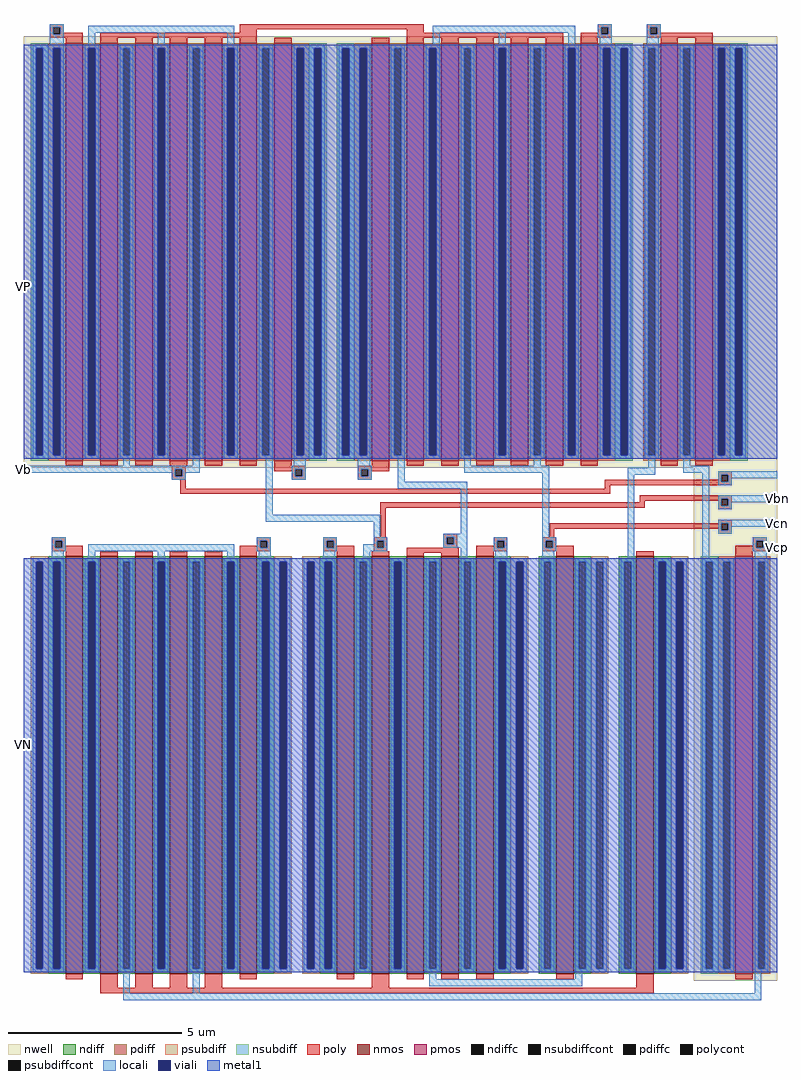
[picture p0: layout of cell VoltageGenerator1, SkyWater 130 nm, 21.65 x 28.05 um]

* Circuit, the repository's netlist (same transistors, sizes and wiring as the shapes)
* SPICE3 file created from /home/madvlsi/Desktop/MAD_VLSI/MiniProject3-Cascode/Magic/VoltageGenerator1.ext - technology: sky130A


* Top level circuit /home/madvlsi/Desktop/MAD_VLSI/MiniProject3-Cascode/Magic/VoltageGenerator1

X0 VP Vb Vb VP sky130_fd_pr__pfet_01v8 ad=7.8e+13p pd=3.25e+08u as=1.2e+13p ps=5e+07u w=1.2e+07u l=500000u
X1 Vcn Vb VP VP sky130_fd_pr__pfet_01v8 ad=1.2e+13p pd=5e+07u as=0p ps=0u w=1.2e+07u l=500000u
X2 VN Vbn a_5840_n3210# VN sky130_fd_pr__nfet_01v8 ad=6.6e+13p pd=2.75e+08u as=6e+12p ps=2.5e+07u w=1.2e+07u l=500000u
X3 VN VN VN VN sky130_fd_pr__nfet_01v8 ad=0p pd=0u as=0p ps=0u w=1.2e+07u l=500000u
X4 VP VP VP VP sky130_fd_pr__pfet_01v8 ad=0p pd=0u as=0p ps=0u w=1.2e+07u l=500000u
X5 Vcn Vb VP VP sky130_fd_pr__pfet_01v8 ad=0p pd=0u as=0p ps=0u w=1.2e+07u l=500000u
X6 Vbn VN VN VN sky130_fd_pr__nfet_01v8 ad=6e+12p pd=2.5e+07u as=0p ps=0u w=1.2e+07u l=500000u
X7 Vbn Vb VP VP sky130_fd_pr__pfet_01v8 ad=6e+12p pd=2.5e+07u as=0p ps=0u w=1.2e+07u l=500000u
X8 VP Vb Vcn VP sky130_fd_pr__pfet_01v8 ad=0p pd=0u as=0p ps=0u w=1.2e+07u l=500000u
X9 VN Vbn Vbn VN sky130_fd_pr__nfet_01v8 ad=0p pd=0u as=0p ps=0u w=1.2e+07u l=500000u
X10 VN Vcn Vcn VN sky130_fd_pr__nfet_01v8 ad=0p pd=0u as=6e+12p ps=2.5e+07u w=1.2e+07u l=500000u
X11 VN VN VN VN sky130_fd_pr__nfet_01v8 ad=0p pd=0u as=0p ps=0u w=1.2e+07u l=500000u
X12 VP a_5840_n3210# VP VP sky130_fd_pr__pfet_01v8 ad=0p pd=0u as=0p ps=0u w=1.2e+07u l=500000u
X13 VN a_4520_n260# VN VN sky130_fd_pr__nfet_01v8 ad=0p pd=0u as=0p ps=0u w=1.2e+07u l=500000u
X14 Vcp Vbn VN VN sky130_fd_pr__nfet_01v8 ad=1.2e+13p pd=5e+07u as=0p ps=0u w=1.2e+07u l=500000u
X15 VP Vb a_4520_n260# VP sky130_fd_pr__pfet_01v8 ad=0p pd=0u as=6e+12p ps=2.5e+07u w=1.2e+07u l=500000u
X16 a_4520_n260# a_4520_n260# VN VN sky130_fd_pr__nfet_01v8 ad=6e+12p pd=2.5e+07u as=0p ps=0u w=1.2e+07u l=500000u
X17 VP Vb Vb VP sky130_fd_pr__pfet_01v8 ad=0p pd=0u as=0p ps=0u w=1.2e+07u l=500000u
X18 VP VP VP VP sky130_fd_pr__pfet_01v8 ad=0p pd=0u as=0p ps=0u w=1.2e+07u l=500000u
X19 Vcp Vcp VP VP sky130_fd_pr__pfet_01v8 ad=6e+12p pd=2.5e+07u as=0p ps=0u w=1.2e+07u l=500000u
X20 VP a_5840_n3210# a_5840_n3210# VP sky130_fd_pr__pfet_01v8 ad=0p pd=0u as=6e+12p ps=2.5e+07u w=1.2e+07u l=500000u
X21 a_4520_n260# VP VP VP sky130_fd_pr__pfet_01v8 ad=0p pd=0u as=0p ps=0u w=1.2e+07u l=500000u
X22 Vb Vb VP VP sky130_fd_pr__pfet_01v8 ad=0p pd=0u as=0p ps=0u w=1.2e+07u l=500000u
X23 VP Vb Vcn VP sky130_fd_pr__pfet_01v8 ad=0p pd=0u as=0p ps=0u w=1.2e+07u l=500000u
X24 VN Vbn Vcp VN sky130_fd_pr__nfet_01v8 ad=0p pd=0u as=0p ps=0u w=1.2e+07u l=500000u
X25 VN VN a_4520_n260# VN sky130_fd_pr__nfet_01v8 ad=0p pd=0u as=0p ps=0u w=1.2e+07u l=500000u
X26 Vcp Vbn VN VN sky130_fd_pr__nfet_01v8 ad=0p pd=0u as=0p ps=0u w=1.2e+07u l=500000u
X27 Vb Vb VP VP sky130_fd_pr__pfet_01v8 ad=0p pd=0u as=0p ps=0u w=1.2e+07u l=500000u
X28 VP VP Vbn VP sky130_fd_pr__pfet_01v8 ad=0p pd=0u as=0p ps=0u w=1.2e+07u l=500000u
X29 VN Vbn Vcp VN sky130_fd_pr__nfet_01v8 ad=0p pd=0u as=0p ps=0u w=1.2e+07u l=500000u
.end

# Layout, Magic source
magic
tech sky130A
<< nwell >>
rect 1210 -150 3375 1090
rect 3135 -1625 3375 -150
<< nmos >>
rect 1330 -1605 1380 -405
rect 1430 -1605 1480 -405
rect 1530 -1605 1580 -405
rect 1630 -1605 1680 -405
rect 1730 -1605 1780 -405
rect 1830 -1605 1880 -405
rect 2110 -1605 2160 -405
rect 2210 -1605 2260 -405
rect 2310 -1605 2360 -405
rect 2410 -1605 2460 -405
rect 2510 -1605 2560 -405
rect 2740 -1605 2790 -405
rect 2970 -1605 3020 -405
<< pmos >>
rect 1330 -130 1380 1070
rect 1430 -130 1480 1070
rect 1530 -130 1580 1070
rect 1630 -130 1680 1070
rect 1730 -130 1780 1070
rect 1830 -130 1880 1070
rect 1930 -130 1980 1070
rect 2210 -130 2260 1070
rect 2310 -130 2360 1070
rect 2410 -130 2460 1070
rect 2510 -130 2560 1070
rect 2610 -130 2660 1070
rect 2710 -130 2760 1070
rect 2810 -130 2860 1070
rect 3040 -130 3090 1070
rect 3140 -130 3190 1070
rect 3255 -1605 3305 -405
<< ndiff >>
rect 1280 -420 1330 -405
rect 1280 -1590 1295 -420
rect 1315 -1590 1330 -420
rect 1280 -1605 1330 -1590
rect 1380 -420 1430 -405
rect 1380 -1590 1395 -420
rect 1415 -1590 1430 -420
rect 1380 -1605 1430 -1590
rect 1480 -420 1530 -405
rect 1480 -1590 1495 -420
rect 1515 -1590 1530 -420
rect 1480 -1605 1530 -1590
rect 1580 -420 1630 -405
rect 1580 -1590 1595 -420
rect 1615 -1590 1630 -420
rect 1580 -1605 1630 -1590
rect 1680 -420 1730 -405
rect 1680 -1590 1695 -420
rect 1715 -1590 1730 -420
rect 1680 -1605 1730 -1590
rect 1780 -420 1830 -405
rect 1780 -1590 1795 -420
rect 1815 -1590 1830 -420
rect 1780 -1605 1830 -1590
rect 1880 -420 1930 -405
rect 1880 -1590 1895 -420
rect 1915 -1590 1930 -420
rect 1880 -1605 1930 -1590
rect 2060 -420 2110 -405
rect 2060 -1590 2075 -420
rect 2095 -1590 2110 -420
rect 2060 -1605 2110 -1590
rect 2160 -420 2210 -405
rect 2160 -1590 2175 -420
rect 2195 -1590 2210 -420
rect 2160 -1605 2210 -1590
rect 2260 -420 2310 -405
rect 2260 -1590 2275 -420
rect 2295 -1590 2310 -420
rect 2260 -1605 2310 -1590
rect 2360 -420 2410 -405
rect 2360 -1590 2375 -420
rect 2395 -1590 2410 -420
rect 2360 -1605 2410 -1590
rect 2460 -420 2510 -405
rect 2460 -1590 2475 -420
rect 2495 -1590 2510 -420
rect 2460 -1605 2510 -1590
rect 2560 -420 2610 -405
rect 2560 -1590 2575 -420
rect 2595 -1590 2610 -420
rect 2560 -1605 2610 -1590
rect 2690 -420 2740 -405
rect 2690 -1590 2705 -420
rect 2725 -1590 2740 -420
rect 2690 -1605 2740 -1590
rect 2790 -420 2840 -405
rect 2790 -1590 2805 -420
rect 2825 -1590 2840 -420
rect 2790 -1605 2840 -1590
rect 2920 -420 2970 -405
rect 2920 -1590 2935 -420
rect 2955 -1590 2970 -420
rect 2920 -1605 2970 -1590
rect 3020 -420 3070 -405
rect 3020 -1590 3035 -420
rect 3055 -1590 3070 -420
rect 3020 -1605 3070 -1590
<< pdiff >>
rect 1280 1055 1330 1070
rect 1280 -115 1295 1055
rect 1315 -115 1330 1055
rect 1280 -130 1330 -115
rect 1380 1055 1430 1070
rect 1380 -115 1395 1055
rect 1415 -115 1430 1055
rect 1380 -130 1430 -115
rect 1480 1055 1530 1070
rect 1480 -115 1495 1055
rect 1515 -115 1530 1055
rect 1480 -130 1530 -115
rect 1580 1055 1630 1070
rect 1580 -115 1595 1055
rect 1615 -115 1630 1055
rect 1580 -130 1630 -115
rect 1680 1055 1730 1070
rect 1680 -115 1695 1055
rect 1715 -115 1730 1055
rect 1680 -130 1730 -115
rect 1780 1055 1830 1070
rect 1780 -115 1795 1055
rect 1815 -115 1830 1055
rect 1780 -130 1830 -115
rect 1880 1055 1930 1070
rect 1880 -115 1895 1055
rect 1915 -115 1930 1055
rect 1880 -130 1930 -115
rect 1980 1055 2030 1070
rect 1980 -115 1995 1055
rect 2015 -115 2030 1055
rect 1980 -130 2030 -115
rect 2160 1055 2210 1070
rect 2160 -115 2175 1055
rect 2195 -115 2210 1055
rect 2160 -130 2210 -115
rect 2260 1055 2310 1070
rect 2260 -115 2275 1055
rect 2295 -115 2310 1055
rect 2260 -130 2310 -115
rect 2360 1055 2410 1070
rect 2360 -115 2375 1055
rect 2395 -115 2410 1055
rect 2360 -130 2410 -115
rect 2460 1055 2510 1070
rect 2460 -115 2475 1055
rect 2495 -115 2510 1055
rect 2460 -130 2510 -115
rect 2560 1055 2610 1070
rect 2560 -115 2575 1055
rect 2595 -115 2610 1055
rect 2560 -130 2610 -115
rect 2660 1055 2710 1070
rect 2660 -115 2675 1055
rect 2695 -115 2710 1055
rect 2660 -130 2710 -115
rect 2760 1055 2810 1070
rect 2760 -115 2775 1055
rect 2795 -115 2810 1055
rect 2760 -130 2810 -115
rect 2860 1055 2910 1070
rect 2860 -115 2875 1055
rect 2895 -115 2910 1055
rect 2860 -130 2910 -115
rect 2990 1055 3040 1070
rect 2990 -115 3005 1055
rect 3025 -115 3040 1055
rect 2990 -130 3040 -115
rect 3090 1055 3140 1070
rect 3090 -115 3105 1055
rect 3125 -115 3140 1055
rect 3090 -130 3140 -115
rect 3190 1055 3240 1070
rect 3190 -115 3205 1055
rect 3225 -115 3240 1055
rect 3190 -130 3240 -115
rect 3205 -420 3255 -405
rect 3205 -1590 3220 -420
rect 3240 -1590 3255 -420
rect 3205 -1605 3255 -1590
rect 3305 -420 3355 -405
rect 3305 -1590 3320 -420
rect 3340 -1590 3355 -420
rect 3305 -1605 3355 -1590
<< ndiffc >>
rect 1295 -1590 1315 -420
rect 1395 -1590 1415 -420
rect 1495 -1590 1515 -420
rect 1595 -1590 1615 -420
rect 1695 -1590 1715 -420
rect 1795 -1590 1815 -420
rect 1895 -1590 1915 -420
rect 2075 -1590 2095 -420
rect 2175 -1590 2195 -420
rect 2275 -1590 2295 -420
rect 2375 -1590 2395 -420
rect 2475 -1590 2495 -420
rect 2575 -1590 2595 -420
rect 2705 -1590 2725 -420
rect 2805 -1590 2825 -420
rect 2935 -1590 2955 -420
rect 3035 -1590 3055 -420
<< pdiffc >>
rect 1295 -115 1315 1055
rect 1395 -115 1415 1055
rect 1495 -115 1515 1055
rect 1595 -115 1615 1055
rect 1695 -115 1715 1055
rect 1795 -115 1815 1055
rect 1895 -115 1915 1055
rect 1995 -115 2015 1055
rect 2175 -115 2195 1055
rect 2275 -115 2295 1055
rect 2375 -115 2395 1055
rect 2475 -115 2495 1055
rect 2575 -115 2595 1055
rect 2675 -115 2695 1055
rect 2775 -115 2795 1055
rect 2875 -115 2895 1055
rect 3005 -115 3025 1055
rect 3105 -115 3125 1055
rect 3205 -115 3225 1055
rect 3220 -1590 3240 -420
rect 3320 -1590 3340 -420
<< psubdiff >>
rect 1230 -420 1280 -405
rect 1230 -1590 1245 -420
rect 1265 -1590 1280 -420
rect 1230 -1605 1280 -1590
rect 1930 -420 1980 -405
rect 1930 -1590 1945 -420
rect 1965 -1590 1980 -420
rect 1930 -1605 1980 -1590
rect 2010 -420 2060 -405
rect 2010 -1590 2025 -420
rect 2045 -1590 2060 -420
rect 2010 -1605 2060 -1590
rect 2610 -420 2660 -405
rect 2610 -1590 2625 -420
rect 2645 -1590 2660 -420
rect 2610 -1605 2660 -1590
rect 2840 -420 2890 -405
rect 2840 -1590 2855 -420
rect 2875 -1590 2890 -420
rect 2840 -1605 2890 -1590
rect 3070 -420 3120 -405
rect 3070 -1590 3085 -420
rect 3105 -1590 3120 -420
rect 3070 -1605 3120 -1590
<< nsubdiff >>
rect 1230 1055 1280 1070
rect 1230 -115 1245 1055
rect 1265 -115 1280 1055
rect 1230 -130 1280 -115
rect 2030 1055 2080 1070
rect 2030 -115 2045 1055
rect 2065 -115 2080 1055
rect 2030 -130 2080 -115
rect 2110 1055 2160 1070
rect 2110 -115 2125 1055
rect 2145 -115 2160 1055
rect 2110 -130 2160 -115
rect 2910 1055 2960 1070
rect 2910 -115 2925 1055
rect 2945 -115 2960 1055
rect 2910 -130 2960 -115
rect 3240 1055 3290 1070
rect 3240 -115 3255 1055
rect 3275 -115 3290 1055
rect 3240 -130 3290 -115
rect 3155 -420 3205 -405
rect 3155 -1590 3170 -420
rect 3190 -1590 3205 -420
rect 3155 -1605 3205 -1590
<< psubdiffcont >>
rect 1245 -1590 1265 -420
rect 1945 -1590 1965 -420
rect 2025 -1590 2045 -420
rect 2625 -1590 2645 -420
rect 2855 -1590 2875 -420
rect 3085 -1590 3105 -420
<< nsubdiffcont >>
rect 1245 -115 1265 1055
rect 2045 -115 2065 1055
rect 2125 -115 2145 1055
rect 2925 -115 2945 1055
rect 3255 -115 3275 1055
rect 3170 -1590 3190 -420
<< poly >>
rect 1285 1115 1325 1125
rect 1285 1095 1295 1115
rect 1315 1100 1325 1115
rect 1830 1110 2360 1125
rect 1830 1100 1880 1110
rect 1315 1095 1380 1100
rect 1285 1085 1380 1095
rect 1330 1070 1380 1085
rect 1430 1085 1880 1100
rect 2310 1100 2360 1110
rect 2860 1115 2900 1125
rect 2860 1100 2870 1115
rect 2310 1085 2760 1100
rect 1430 1070 1480 1085
rect 1530 1070 1580 1085
rect 1630 1070 1680 1085
rect 1730 1070 1780 1085
rect 1830 1070 1880 1085
rect 1930 1070 1980 1085
rect 2210 1070 2260 1085
rect 2310 1070 2360 1085
rect 2410 1070 2460 1085
rect 2510 1070 2560 1085
rect 2610 1070 2660 1085
rect 2710 1070 2760 1085
rect 2810 1095 2870 1100
rect 2890 1095 2900 1115
rect 2810 1085 2900 1095
rect 3000 1115 3040 1125
rect 3000 1095 3010 1115
rect 3030 1100 3040 1115
rect 3030 1095 3190 1100
rect 3000 1085 3190 1095
rect 2810 1070 2860 1085
rect 3040 1070 3090 1085
rect 3140 1070 3190 1085
rect 1330 -145 1380 -130
rect 1430 -145 1480 -130
rect 1530 -145 1580 -130
rect 1630 -145 1680 -130
rect 1730 -145 1780 -130
rect 1830 -145 1880 -130
rect 1930 -145 1980 -130
rect 2210 -145 2260 -130
rect 2310 -145 2360 -130
rect 2410 -145 2460 -130
rect 2510 -145 2560 -130
rect 2610 -145 2660 -130
rect 2710 -145 2760 -130
rect 2810 -145 2860 -130
rect 3040 -145 3090 -130
rect 3140 -145 3190 -130
rect 1635 -155 1675 -145
rect 1635 -175 1645 -155
rect 1665 -175 1675 -155
rect 1930 -155 2020 -145
rect 1930 -160 1990 -155
rect 1635 -185 1675 -175
rect 1980 -175 1990 -160
rect 2010 -175 2020 -155
rect 1980 -185 2020 -175
rect 2170 -155 2260 -145
rect 2170 -175 2180 -155
rect 2200 -160 2260 -155
rect 2200 -175 2210 -160
rect 2170 -185 2210 -175
rect 3205 -170 3245 -160
rect 3205 -185 3215 -170
rect 1660 -210 1675 -185
rect 2880 -190 3215 -185
rect 3235 -190 3245 -170
rect 2880 -200 3245 -190
rect 2880 -210 2895 -200
rect 1660 -225 2895 -210
rect 2980 -240 3245 -230
rect 2980 -245 3215 -240
rect 2980 -250 2995 -245
rect 2235 -265 2995 -250
rect 3205 -260 3215 -245
rect 3235 -260 3245 -240
rect 2235 -350 2250 -265
rect 3205 -270 3245 -260
rect 3205 -310 3245 -300
rect 2720 -325 3215 -310
rect 2415 -350 2455 -340
rect 2720 -350 2735 -325
rect 3205 -330 3215 -325
rect 3235 -330 3245 -310
rect 3205 -340 3245 -330
rect 1290 -360 1330 -350
rect 1290 -380 1300 -360
rect 1320 -375 1330 -360
rect 1880 -360 1920 -350
rect 1880 -375 1890 -360
rect 1320 -380 1380 -375
rect 1290 -390 1380 -380
rect 1830 -380 1890 -375
rect 1910 -380 1920 -360
rect 1830 -390 1920 -380
rect 2070 -360 2110 -350
rect 2070 -380 2080 -360
rect 2100 -375 2110 -360
rect 2215 -360 2255 -350
rect 2100 -380 2160 -375
rect 2070 -390 2160 -380
rect 2215 -380 2225 -360
rect 2245 -380 2255 -360
rect 2415 -370 2425 -350
rect 2445 -370 2455 -350
rect 2415 -380 2455 -370
rect 2560 -360 2600 -350
rect 2560 -375 2570 -360
rect 2510 -380 2570 -375
rect 2590 -380 2600 -360
rect 2215 -390 2255 -380
rect 1330 -405 1380 -390
rect 1430 -405 1480 -390
rect 1530 -405 1580 -390
rect 1630 -405 1680 -390
rect 1730 -405 1780 -390
rect 1830 -405 1880 -390
rect 2110 -405 2160 -390
rect 2210 -405 2260 -390
rect 2310 -395 2460 -380
rect 2310 -405 2360 -395
rect 2410 -405 2460 -395
rect 2510 -390 2600 -380
rect 2700 -360 2740 -350
rect 2700 -380 2710 -360
rect 2730 -375 2740 -360
rect 3305 -360 3345 -350
rect 3305 -375 3315 -360
rect 2730 -380 2790 -375
rect 2700 -390 2790 -380
rect 3255 -380 3315 -375
rect 3335 -380 3345 -360
rect 3255 -390 3345 -380
rect 2510 -405 2560 -390
rect 2740 -405 2790 -390
rect 2970 -405 3020 -390
rect 3255 -405 3305 -390
rect 1330 -1620 1380 -1605
rect 1430 -1645 1480 -1605
rect 1530 -1645 1580 -1605
rect 1630 -1645 1680 -1605
rect 1730 -1645 1780 -1605
rect 1830 -1620 1880 -1605
rect 2110 -1620 2160 -1605
rect 2210 -1645 2260 -1605
rect 2310 -1620 2360 -1605
rect 2410 -1620 2460 -1605
rect 2510 -1620 2560 -1605
rect 2740 -1620 2790 -1605
rect 2970 -1645 3020 -1605
rect 3255 -1620 3305 -1605
rect 1430 -1660 3020 -1645
<< polycont >>
rect 1295 1095 1315 1115
rect 2870 1095 2890 1115
rect 3010 1095 3030 1115
rect 1645 -175 1665 -155
rect 1990 -175 2010 -155
rect 2180 -175 2200 -155
rect 3215 -190 3235 -170
rect 3215 -260 3235 -240
rect 3215 -330 3235 -310
rect 1300 -380 1320 -360
rect 1890 -380 1910 -360
rect 2080 -380 2100 -360
rect 2225 -380 2245 -360
rect 2425 -370 2445 -350
rect 2570 -380 2590 -360
rect 2710 -380 2730 -360
rect 3315 -380 3335 -360
<< locali >>
rect 1285 1115 1325 1125
rect 1285 1095 1295 1115
rect 1315 1095 1325 1115
rect 1285 1065 1325 1095
rect 1395 1100 1815 1120
rect 1395 1065 1415 1100
rect 1595 1065 1615 1100
rect 1795 1065 1815 1100
rect 2385 1100 2795 1120
rect 2385 1065 2405 1100
rect 2575 1065 2595 1100
rect 2775 1065 2795 1100
rect 2860 1115 2900 1125
rect 2860 1095 2870 1115
rect 2890 1095 2900 1115
rect 2860 1085 2900 1095
rect 2865 1065 2900 1085
rect 3000 1115 3040 1125
rect 3000 1095 3010 1115
rect 3030 1095 3040 1115
rect 3000 1085 3040 1095
rect 3000 1065 3035 1085
rect 1235 1055 1325 1065
rect 1235 -115 1245 1055
rect 1265 -115 1295 1055
rect 1315 -115 1325 1055
rect 1235 -125 1325 -115
rect 1385 1055 1425 1065
rect 1385 -115 1395 1055
rect 1415 -115 1425 1055
rect 1385 -125 1425 -115
rect 1485 1055 1525 1065
rect 1485 -115 1495 1055
rect 1515 -115 1525 1055
rect 1485 -125 1525 -115
rect 1585 1055 1625 1065
rect 1585 -115 1595 1055
rect 1615 -115 1625 1055
rect 1585 -125 1625 -115
rect 1685 1055 1725 1065
rect 1685 -115 1695 1055
rect 1715 -115 1725 1055
rect 1685 -125 1725 -115
rect 1785 1055 1825 1065
rect 1785 -115 1795 1055
rect 1815 -115 1825 1055
rect 1785 -125 1825 -115
rect 1885 1055 1925 1065
rect 1885 -115 1895 1055
rect 1915 -115 1925 1055
rect 1885 -125 1925 -115
rect 1495 -145 1515 -125
rect 1695 -145 1715 -125
rect 1210 -155 1715 -145
rect 1210 -165 1645 -155
rect 1635 -175 1645 -165
rect 1665 -165 1715 -155
rect 1665 -175 1675 -165
rect 1635 -185 1675 -175
rect 1905 -285 1925 -125
rect 1985 1055 2075 1065
rect 1985 -115 1995 1055
rect 2015 -115 2045 1055
rect 2065 -115 2075 1055
rect 1985 -125 2075 -115
rect 2115 1055 2205 1065
rect 2115 -115 2125 1055
rect 2145 -115 2175 1055
rect 2195 -115 2205 1055
rect 2115 -125 2205 -115
rect 2265 1055 2305 1065
rect 2265 -115 2275 1055
rect 2295 -115 2305 1055
rect 2265 -125 2305 -115
rect 2365 1055 2405 1065
rect 2365 -115 2375 1055
rect 2395 -115 2405 1055
rect 2365 -125 2405 -115
rect 2465 1055 2505 1065
rect 2465 -115 2475 1055
rect 2495 -115 2505 1055
rect 2465 -125 2505 -115
rect 2565 1055 2605 1065
rect 2565 -115 2575 1055
rect 2595 -115 2605 1055
rect 2565 -125 2605 -115
rect 2665 1055 2705 1065
rect 2665 -115 2675 1055
rect 2695 -115 2705 1055
rect 2665 -125 2705 -115
rect 2765 1055 2805 1065
rect 2765 -115 2775 1055
rect 2795 -115 2805 1055
rect 2765 -125 2805 -115
rect 2865 1055 2955 1065
rect 2865 -115 2875 1055
rect 2895 -115 2925 1055
rect 2945 -115 2955 1055
rect 2865 -125 2955 -115
rect 2995 1055 3035 1065
rect 2995 -115 3005 1055
rect 3025 -115 3035 1055
rect 2995 -125 3035 -115
rect 3095 1055 3135 1065
rect 3095 -115 3105 1055
rect 3125 -115 3135 1055
rect 3095 -125 3135 -115
rect 3195 1055 3285 1065
rect 3195 -115 3205 1055
rect 3225 -115 3255 1055
rect 3275 -115 3285 1055
rect 3195 -125 3285 -115
rect 1985 -145 2020 -125
rect 1980 -155 2020 -145
rect 1980 -175 1990 -155
rect 2010 -175 2020 -155
rect 1980 -185 2020 -175
rect 2170 -145 2205 -125
rect 2170 -155 2210 -145
rect 2170 -175 2180 -155
rect 2200 -175 2210 -155
rect 2170 -185 2210 -175
rect 2285 -190 2305 -125
rect 2475 -145 2495 -125
rect 2675 -145 2695 -125
rect 2475 -165 2720 -145
rect 3005 -150 3025 -125
rect 2285 -210 2485 -190
rect 1905 -305 2235 -285
rect 2215 -350 2235 -305
rect 2465 -340 2485 -210
rect 2415 -350 2485 -340
rect 2700 -350 2720 -165
rect 2945 -170 3025 -150
rect 3105 -145 3125 -125
rect 3105 -165 3180 -145
rect 1290 -360 1330 -350
rect 1290 -380 1300 -360
rect 1320 -380 1330 -360
rect 1880 -360 1920 -350
rect 1290 -390 1330 -380
rect 1395 -390 1815 -370
rect 1880 -380 1890 -360
rect 1910 -380 1920 -360
rect 1880 -390 1920 -380
rect 1290 -410 1325 -390
rect 1395 -410 1415 -390
rect 1595 -410 1615 -390
rect 1795 -410 1815 -390
rect 1885 -410 1920 -390
rect 2070 -360 2110 -350
rect 2070 -380 2080 -360
rect 2100 -380 2110 -360
rect 2215 -360 2255 -350
rect 2215 -370 2225 -360
rect 2070 -390 2110 -380
rect 2185 -380 2225 -370
rect 2245 -380 2255 -360
rect 2415 -370 2425 -350
rect 2445 -370 2485 -350
rect 2415 -380 2485 -370
rect 2185 -390 2255 -380
rect 2070 -410 2105 -390
rect 2185 -410 2205 -390
rect 2465 -410 2485 -380
rect 2560 -360 2600 -350
rect 2560 -380 2570 -360
rect 2590 -380 2600 -360
rect 2560 -390 2600 -380
rect 2565 -410 2600 -390
rect 2700 -360 2740 -350
rect 2700 -380 2710 -360
rect 2730 -380 2740 -360
rect 2700 -390 2740 -380
rect 2700 -410 2735 -390
rect 2945 -410 2965 -170
rect 3160 -410 3180 -165
rect 3205 -170 3375 -160
rect 3205 -190 3215 -170
rect 3235 -180 3375 -170
rect 3235 -190 3245 -180
rect 3205 -200 3245 -190
rect 3205 -240 3375 -230
rect 3205 -260 3215 -240
rect 3235 -250 3375 -240
rect 3235 -260 3245 -250
rect 3205 -270 3245 -260
rect 3205 -310 3375 -300
rect 3205 -330 3215 -310
rect 3235 -320 3375 -310
rect 3235 -330 3245 -320
rect 3205 -340 3245 -330
rect 3305 -360 3345 -350
rect 3305 -380 3315 -360
rect 3335 -370 3345 -360
rect 3335 -380 3375 -370
rect 3305 -390 3375 -380
rect 3310 -410 3345 -390
rect 1235 -420 1325 -410
rect 1235 -1590 1245 -420
rect 1265 -1590 1295 -420
rect 1315 -1590 1325 -420
rect 1235 -1600 1325 -1590
rect 1385 -420 1425 -410
rect 1385 -1590 1395 -420
rect 1415 -1590 1425 -420
rect 1385 -1600 1425 -1590
rect 1485 -420 1525 -410
rect 1485 -1590 1495 -420
rect 1515 -1590 1525 -420
rect 1485 -1600 1525 -1590
rect 1585 -420 1625 -410
rect 1585 -1590 1595 -420
rect 1615 -1590 1625 -420
rect 1585 -1600 1625 -1590
rect 1685 -420 1725 -410
rect 1685 -1590 1695 -420
rect 1715 -1590 1725 -420
rect 1685 -1600 1725 -1590
rect 1785 -420 1825 -410
rect 1785 -1590 1795 -420
rect 1815 -1590 1825 -420
rect 1785 -1600 1825 -1590
rect 1885 -420 1975 -410
rect 1885 -1590 1895 -420
rect 1915 -1590 1945 -420
rect 1965 -1590 1975 -420
rect 1885 -1600 1975 -1590
rect 2015 -420 2105 -410
rect 2015 -1590 2025 -420
rect 2045 -1590 2075 -420
rect 2095 -1590 2105 -420
rect 2015 -1600 2105 -1590
rect 2165 -420 2205 -410
rect 2165 -1590 2175 -420
rect 2195 -1590 2205 -420
rect 2165 -1600 2205 -1590
rect 2265 -420 2305 -410
rect 2265 -1590 2275 -420
rect 2295 -1590 2305 -420
rect 2265 -1600 2305 -1590
rect 2365 -420 2405 -410
rect 2365 -1590 2375 -420
rect 2395 -1590 2405 -420
rect 2365 -1600 2405 -1590
rect 2465 -420 2505 -410
rect 2465 -1590 2475 -420
rect 2495 -1590 2505 -420
rect 2465 -1600 2505 -1590
rect 2565 -420 2655 -410
rect 2565 -1590 2575 -420
rect 2595 -1590 2625 -420
rect 2645 -1590 2655 -420
rect 2565 -1600 2655 -1590
rect 2695 -420 2735 -410
rect 2695 -1590 2705 -420
rect 2725 -1590 2735 -420
rect 2695 -1600 2735 -1590
rect 2795 -420 2885 -410
rect 2795 -1590 2805 -420
rect 2825 -1590 2855 -420
rect 2875 -1590 2885 -420
rect 2795 -1600 2885 -1590
rect 2925 -420 2965 -410
rect 2925 -1590 2935 -420
rect 2955 -1590 2965 -420
rect 2925 -1600 2965 -1590
rect 3025 -420 3115 -410
rect 3025 -1590 3035 -420
rect 3055 -1590 3085 -420
rect 3105 -1590 3115 -420
rect 3025 -1600 3115 -1590
rect 3160 -420 3250 -410
rect 3160 -1590 3170 -420
rect 3190 -1590 3220 -420
rect 3240 -1590 3250 -420
rect 3160 -1600 3250 -1590
rect 3310 -420 3350 -410
rect 3310 -1590 3320 -420
rect 3340 -1590 3350 -420
rect 3310 -1600 3350 -1590
rect 1495 -1660 1515 -1600
rect 1695 -1660 1715 -1600
rect 2375 -1620 2395 -1600
rect 2795 -1620 2815 -1600
rect 2375 -1640 2815 -1620
rect 3310 -1660 3330 -1600
rect 1495 -1680 3330 -1660
<< viali >>
rect 1245 -115 1265 1055
rect 1295 -115 1315 1055
rect 1395 -115 1415 1055
rect 1595 -115 1615 1055
rect 1795 -115 1815 1055
rect 1995 -115 2015 1055
rect 2045 -115 2065 1055
rect 2125 -115 2145 1055
rect 2175 -115 2195 1055
rect 2375 -115 2395 1055
rect 2575 -115 2595 1055
rect 2775 -115 2795 1055
rect 2875 -115 2895 1055
rect 2925 -115 2945 1055
rect 3205 -115 3225 1055
rect 3255 -115 3275 1055
rect 1245 -1590 1265 -420
rect 1295 -1590 1315 -420
rect 1395 -1590 1415 -420
rect 1595 -1590 1615 -420
rect 1795 -1590 1815 -420
rect 1895 -1590 1915 -420
rect 1945 -1590 1965 -420
rect 2025 -1590 2045 -420
rect 2075 -1590 2095 -420
rect 2275 -1590 2295 -420
rect 2575 -1590 2595 -420
rect 2625 -1590 2645 -420
rect 3035 -1590 3055 -420
rect 3085 -1590 3105 -420
<< metal1 >>
rect 1210 1055 3375 1065
rect 1210 -115 1245 1055
rect 1265 -115 1295 1055
rect 1315 -115 1395 1055
rect 1415 -115 1595 1055
rect 1615 -115 1795 1055
rect 1815 -115 1995 1055
rect 2015 -115 2045 1055
rect 2065 -115 2125 1055
rect 2145 -115 2175 1055
rect 2195 -115 2375 1055
rect 2395 -115 2575 1055
rect 2595 -115 2775 1055
rect 2795 -115 2875 1055
rect 2895 -115 2925 1055
rect 2945 -115 3205 1055
rect 3225 -115 3255 1055
rect 3275 -115 3375 1055
rect 1210 -125 3375 -115
rect 1210 -420 3375 -410
rect 1210 -1590 1245 -420
rect 1265 -1590 1295 -420
rect 1315 -1590 1395 -420
rect 1415 -1590 1595 -420
rect 1615 -1590 1795 -420
rect 1815 -1590 1895 -420
rect 1915 -1590 1945 -420
rect 1965 -1590 2025 -420
rect 2045 -1590 2075 -420
rect 2095 -1590 2275 -420
rect 2295 -1590 2575 -420
rect 2595 -1590 2625 -420
rect 2645 -1590 3035 -420
rect 3055 -1590 3085 -420
rect 3105 -1590 3375 -420
rect 1210 -1600 3375 -1590
<< labels >>
rlabel locali 1210 -155 1210 -155 7 Vb
rlabel locali 3375 -240 3375 -240 3 Vbn
rlabel locali 3375 -310 3375 -310 3 Vcn
rlabel metal1 1210 -945 1210 -945 7 VN
rlabel metal1 1210 370 1210 370 7 VP
rlabel locali 3375 -380 3375 -380 3 Vcp
<< end >>
